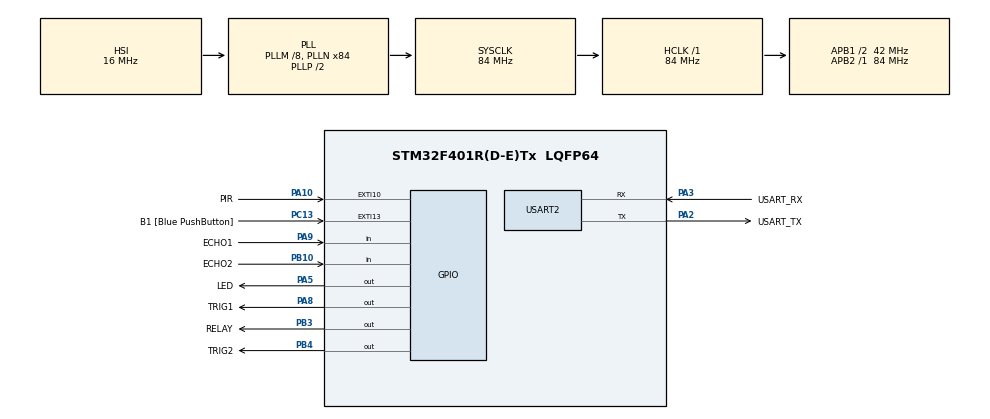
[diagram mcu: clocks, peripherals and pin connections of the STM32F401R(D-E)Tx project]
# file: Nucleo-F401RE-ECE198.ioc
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Mcu.Family=STM32F4
Mcu.Name=STM32F401R(D-E)Tx
Mcu.Package=LQFP64
NVIC.PriorityGroup=NVIC_PRIORITYGROUP_0
PA10.GPIO_Label=PIR
PA10.Signal=GPXTI10
PA13.GPIO_Label=TMS
PA13.Mode=Serial_Wire
PA13.Signal=SYS_JTMS-SWDIO
PA14.GPIO_Label=TCK
PA14.Mode=Serial_Wire
PA14.Signal=SYS_JTCK-SWCLK
PA2.GPIO_Label=USART_TX
PA2.GPIO_Mode=GPIO_MODE_AF_PP
PA2.GPIO_PuPd=GPIO_NOPULL
PA2.GPIO_Speed=GPIO_SPEED_FREQ_LOW
PA2.Mode=Asynchronous
PA2.Signal=USART2_TX
PA3.GPIO_Label=USART_RX
PA3.GPIO_Mode=GPIO_MODE_AF_PP
PA3.GPIO_PuPd=GPIO_NOPULL
PA3.GPIO_Speed=GPIO_SPEED_FREQ_LOW
PA3.Mode=Asynchronous
PA3.Signal=USART2_RX
PA5.GPIO_Label=LED
PA5.Signal=GPIO_Output
PA8.GPIO_Label=TRIG1
PA8.Signal=GPIO_Output
PA9.GPIO_Label=ECHO1
PA9.Signal=GPIO_Input
PB10.GPIO_Label=ECHO2
PB10.Signal=GPIO_Input
PB3.GPIO_Label=RELAY
PB3.Signal=GPIO_Output
PB4.GPIO_Label=TRIG2
PB4.Signal=GPIO_Output
PC13-ANTI_TAMP.GPIO_Label=B1 [Blue PushButton]
PC13-ANTI_TAMP.GPIO_ModeDefaultEXTI=GPIO_MODE_IT_FALLING
PC13-ANTI_TAMP.GPIO_PuPd=GPIO_NOPULL
PC13-ANTI_TAMP.Signal=GPXTI13
PC14-OSC32_IN.Mode=LSE-External-Oscillator
PC14-OSC32_IN.Signal=RCC_OSC32_IN
PC15-OSC32_OUT.Mode=LSE-External-Oscillator
PC15-OSC32_OUT.Signal=RCC_OSC32_OUT
PH0\ -\ OSC_IN.Mode=HSE-External-Oscillator
PH0\ -\ OSC_IN.Signal=RCC_OSC_IN
PH1\ -\ OSC_OUT.Mode=HSE-External-Oscillator
PH1\ -\ OSC_OUT.Signal=RCC_OSC_OUT
ProjectManager.HeapSize=0x200
ProjectManager.StackSize=0x400
ProjectManager.TargetToolchain=STM32CubeIDE
RCC.48MHZClocksFreq_Value=24000000
RCC.AHBFreq_Value=84000000
RCC.APB1CLKDivider=RCC_HCLK_DIV2
RCC.APB1Freq_Value=42000000
RCC.APB1TimFreq_Value=84000000
RCC.APB2Freq_Value=84000000
RCC.APB2TimFreq_Value=84000000
RCC.CortexFreq_Value=84000000
RCC.HCLKFreq_Value=84000000
RCC.HSE_VALUE=8000000
RCC.HSI_VALUE=16000000
RCC.PLLM=8
RCC.PLLN=84
RCC.PLLQ=7
RCC.SYSCLKFreq_VALUE=84000000
RCC.SYSCLKSource=RCC_SYSCLKSOURCE_PLLCLK
RCC.VCOOutputFreq_Value=168000000
TIM1.Prescaler=71
TIM4.Period=0
TIM4.Prescaler=84-1
USART2.VirtualMode=VM_ASYNC
VP_TIM1_VS_ClockSourceINT.Mode=Internal
VP_TIM4_VS_ClockSourceINT.Mode=Internal
board=NUCLEO-F401RE

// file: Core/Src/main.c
/* USER CODE BEGIN Header */
/**
  ******************************************************************************
  * @file           : main.c
  * @brief          : Main program body
  ******************************************************************************
  * @attention
  *
  * Copyright (c) 2022 STMicroelectronics.
  * All rights reserved.
  *
  * This software is licensed under terms that can be found in the LICENSE file
  * in the root directory of this software component.
  * If no LICENSE file comes with this software, it is provided AS-IS.
  *
  ******************************************************************************
  */
/* USER CODE END Header */
#include "main.h"

/* USER CODE BEGIN Includes */

#include <string.h>
#include <stdio.h>
#include <math.h>
#include <stdbool.h>

/* USER CODE END Includes */

/* USER CODE BEGIN PTD */
#define usTIM TIM4
/* USER CODE END PTD */

TIM_HandleTypeDef htim1;
TIM_HandleTypeDef htim4;

UART_HandleTypeDef huart2;

/* USER CODE BEGIN PV */

//#define TRIG_Pin GPIO_PIN_8
//#define TRIG_GPIO_Port GPIOA
//
//#define ECHO_Pin GPIO_PIN_9
//#define ECHO_GPIO_PortT GPIOA

/* USER CODE END PV */

void SystemClock_Config(void);
static void MX_GPIO_Init(void);
static void MX_USART2_UART_Init(void);
static void MX_TIM1_Init(void);
static void MX_TIM4_Init(void);
/* USER CODE BEGIN PFP */

void usDelay(uint32_t uSec);
float MeasureDistance(int sensorID);
float trigMeasurement(float preX, float curX, float preY, float curY);
float AveVel(float velArray[]);

/* USER CODE END PFP */

/* USER CODE BEGIN 0 */

//////pin layout//////
/*
 SensorID = 1
 GPIO_PIN_8 (PA8) Trig for sensor 1:
 GPIO_PIN_9 (PA9) Echo for sensor 1:

 SensorID =2;
 GPIO_PIN_6 (PB4) Trig for sensor 2:
 GPIO_PIN_7 (PB10) Echo for sensor 2:

 sensor 1 is the one at the door
 sensor 2 is the one k meters from the door

 GPIO_PIN_10 (PA10) PIR Sensor:

 PB3: Relay

 */

const float speedOfSound = 0.0340/2; // go and back
int const timemultipler = 4200000;
float const k = 30; // distance between two sensors

// bool isPresent=0; // this will be set to whetever is returned by the sensors

// use one of the following
const uint32_t interval = 0.010; // this will be changed to match the clock
uint32_t numTicks= 0; // 1 tick = 1 us

// local array for mean vel calculation
// how many entries do we want? how often do we calculate the velocity
// if we calculate the instant displacement every 50000 ticks (0.05 seconds),

/* USER CODE END 0 */

int main(void)
{

  /* MCU Configuration--------------------------------------------------------*/

  /* Reset of all peripherals, Initializes the Flash interface and the Systick. */
  HAL_Init();

  /* Configure the system clock */
  SystemClock_Config();

  /* Initialize all configured peripherals */
  MX_GPIO_Init();
  MX_USART2_UART_Init();
  MX_TIM1_Init();
  MX_TIM4_Init();

  /* Infinite loop */
  /* USER CODE BEGIN WHILE */

  float preX=0;
  float curX=0;

  float preY=0;
  float curY=0;

  float const interval= 0.01*timemultipler;

  float deltaX=0;

  float aveVel=0;

  int velStage=0;
  int lightStage=0;
  int timer = 0;

  int index=0;
  float xArray[10]={}; // 12 => every 0.6 seconds
  float velArray[9]={}; // every 0.6 seconds we calculate velocity

  uint16_t peopleCounter=0;

  bool isPresent = false;

  int testingdistance=0;
  int testingdistance1=0;

  // 1 tick = 1 us
  while (1)
  {

	  timer++;
	  // isPresent = HAL_GPIO_ReadPin(GPIOA, GPIO_PIN_10); // when detecting people
	  ////////////Test 1: 1 ultrasonic sensor ///////////
/*
	  testingdistance = MeasureDistance(1);
	  if (testingdistance > 15){ // 15 cms
		  HAL_GPIO_WritePin(GPIOA, GPIO_PIN_5, GPIO_PIN_SET);
		  HAL_GPIO_WritePin(GPIOB, GPIO_PIN_3, GPIO_PIN_SET); // engage the relay
		  HAL_Delay(3000);

	  }else{
		  HAL_GPIO_WritePin(GPIOB, GPIO_PIN_3, GPIO_PIN_RESET);
	  }

*/

	  ////////////Test 2: 2 ultrasosnic sensor ///////////
/*
	  testingdistance = MeasureDistance(2);
	  if (testingdistance > 15){  // 15 cms
		  HAL_GPIO_WritePin(GPIOA, GPIO_PIN_5, GPIO_PIN_SET);
		  HAL_GPIO_WritePin(GPIOB, GPIO_PIN_3, GPIO_PIN_SET);
		  HAL_Delay(3000);

	  }else{
		  HAL_GPIO_WritePin(GPIOB, GPIO_PIN_3, GPIO_PIN_RESET);
	  }
*/

	  ////////////Test 3: PIR sensor ///////////
	  if (HAL_GPIO_ReadPin(GPIOA, GPIO_PIN_10)==GPIO_PIN_RESET){
		  HAL_GPIO_WritePin(GPIOB, GPIO_PIN_3, GPIO_PIN_SET);
	  }else{
		  HAL_GPIO_WritePin(GPIOB, GPIO_PIN_3, GPIO_PIN_RESET);
	  }

	  ////////////Testing4/////////
	  // stage machine to calculate average velocity

	  /*
	  if (isPresent){
		  switch(velStage) {
		    case 0:
		      preX = MeasureDistance(1);
			  preY = MeasureDistance(2);

			  ///////// needs to be fixed
			  if (timer>interval&&timer<2*interval){ // every 0.01 seconds;
				  velStage++;
				  timer=0;
			      break;
			  }else if (timer > 2*interval){ // in case missing some cycle
				  timer = interval;
			  }

		    case 1:
			  curX = MeasureDistance(1);
			  curY = MeasureDistance(2);
			  break;

		    case 2:
		    	deltaX=trigMeasurement(preX, curX, preY, curY); //dX
		    	curX=preX;
		    	curY=preY;
		    	velStage++;
		    	break;

		    case 3: // add instant x to array
				xArray[index] = deltaX; // dX
				index++;
				velStage=0;

				if (index==10){
					velStage=4;
					index=0;
					break;
				}

		    case 4: // add vel to the array
		    	velArray[index]= (xArray[index+1]-xArray[index])/(interval);// calculate dV; derivative
		    	index++;

		    	if (index==9){
		    		velStage++;
		    		index=0;
		    		break;
		    	}

		    case 5:
		    	aveVel = AveVel(velArray);
		    	velStage++;
		    	break;
		  }

		  // is there a better way to determine if the person has enter?
		  // light state machine to turn off the light
		  if (aveVel<0){ // leaving the door
			  switch(lightStage) {
			    case 0:
			    	if (MeasureDistance(3)>30){	 // this should give the third distance
			    		peopleCounter--;
			    		// update LCD
			    		lightStage++;
			    		break;
			    	}
			    	break;

			    case 1:
			    	if(peopleCounter>0){
			    		lightStage=0;
			    		break;
			    	}else{
			    		// turn the light off
			    		peopleCounter=0;
			    		lightStage=0;
			    		break;
			    	}

			  }
		  }else{ // approaching the door
				if (MeasureDistance(3)<30.0){	 // this should give the third distance
					peopleCounter++;
					// Update LCD
					lightStage=0;
					if (peopleCounter>0){
						// turn on the light
						// update LCD

					}
				}
		  }

	  }*/

	  ////////////Testing5/////////
	  testingdistance = MeasureDistance(1);
	  if (testingdistance < 30){ // 15 cms
		  peopleCounter++;
	  }

	  testingdistance1 = MeasureDistance(2);
	  if (testingdistance < 30){  // 15 cms
		  peopleCounter--;
	  }

	  if (peopleCounter==0){
		  HAL_GPIO_WritePin(GPIOB, GPIO_PIN_3, GPIO_PIN_RESET);
	  }else{
		  HAL_GPIO_WritePin(GPIOB, GPIO_PIN_3, GPIO_PIN_SET);
	  }

    /* USER CODE END WHILE */

  }
}

void SystemClock_Config(void)
{
  RCC_OscInitTypeDef RCC_OscInitStruct = {0};
  RCC_ClkInitTypeDef RCC_ClkInitStruct = {0};

  /** Configure the main internal regulator output voltage
  */
  __HAL_RCC_PWR_CLK_ENABLE();
  __HAL_PWR_VOLTAGESCALING_CONFIG(PWR_REGULATOR_VOLTAGE_SCALE2);

  /** Initializes the RCC Oscillators according to the specified parameters
  * in the RCC_OscInitTypeDef structure.
  */
  RCC_OscInitStruct.OscillatorType = RCC_OSCILLATORTYPE_HSI;
  RCC_OscInitStruct.HSIState = RCC_HSI_ON;
  RCC_OscInitStruct.HSICalibrationValue = RCC_HSICALIBRATION_DEFAULT;
  RCC_OscInitStruct.PLL.PLLState = RCC_PLL_ON;
  RCC_OscInitStruct.PLL.PLLSource = RCC_PLLSOURCE_HSI;
  RCC_OscInitStruct.PLL.PLLM = 8;
  RCC_OscInitStruct.PLL.PLLN = 84;
  RCC_OscInitStruct.PLL.PLLP = RCC_PLLP_DIV2;
  RCC_OscInitStruct.PLL.PLLQ = 7;
  if (HAL_RCC_OscConfig(&RCC_OscInitStruct) != HAL_OK)
  {
    Error_Handler();
  }

  /** Initializes the CPU, AHB and APB buses clocks
  */
  RCC_ClkInitStruct.ClockType = RCC_CLOCKTYPE_HCLK|RCC_CLOCKTYPE_SYSCLK
                              |RCC_CLOCKTYPE_PCLK1|RCC_CLOCKTYPE_PCLK2;
  RCC_ClkInitStruct.SYSCLKSource = RCC_SYSCLKSOURCE_PLLCLK;
  RCC_ClkInitStruct.AHBCLKDivider = RCC_SYSCLK_DIV1;
  RCC_ClkInitStruct.APB1CLKDivider = RCC_HCLK_DIV2;
  RCC_ClkInitStruct.APB2CLKDivider = RCC_HCLK_DIV1;

  if (HAL_RCC_ClockConfig(&RCC_ClkInitStruct, FLASH_LATENCY_2) != HAL_OK)
  {
    Error_Handler();
  }
}

static void MX_TIM1_Init(void)
{

  TIM_ClockConfigTypeDef sClockSourceConfig = {0};
  TIM_MasterConfigTypeDef sMasterConfig = {0};

  htim1.Instance = TIM1;
  htim1.Init.Prescaler = 71;
  htim1.Init.CounterMode = TIM_COUNTERMODE_UP;
  htim1.Init.Period = 65535;
  htim1.Init.ClockDivision = TIM_CLOCKDIVISION_DIV1;
  htim1.Init.RepetitionCounter = 0;
  htim1.Init.AutoReloadPreload = TIM_AUTORELOAD_PRELOAD_DISABLE;
  if (HAL_TIM_Base_Init(&htim1) != HAL_OK)
  {
    Error_Handler();
  }
  sClockSourceConfig.ClockSource = TIM_CLOCKSOURCE_INTERNAL;
  if (HAL_TIM_ConfigClockSource(&htim1, &sClockSourceConfig) != HAL_OK)
  {
    Error_Handler();
  }
  sMasterConfig.MasterOutputTrigger = TIM_TRGO_RESET;
  sMasterConfig.MasterSlaveMode = TIM_MASTERSLAVEMODE_DISABLE;
  if (HAL_TIMEx_MasterConfigSynchronization(&htim1, &sMasterConfig) != HAL_OK)
  {
    Error_Handler();
  }

}

static void MX_TIM4_Init(void)
{

  TIM_ClockConfigTypeDef sClockSourceConfig = {0};
  TIM_MasterConfigTypeDef sMasterConfig = {0};

  htim4.Instance = TIM4;
  htim4.Init.Prescaler = 84-1;
  htim4.Init.CounterMode = TIM_COUNTERMODE_UP;
  htim4.Init.Period = 0;
  htim4.Init.ClockDivision = TIM_CLOCKDIVISION_DIV1;
  htim4.Init.AutoReloadPreload = TIM_AUTORELOAD_PRELOAD_DISABLE;
  if (HAL_TIM_Base_Init(&htim4) != HAL_OK)
  {
    Error_Handler();
  }
  sClockSourceConfig.ClockSource = TIM_CLOCKSOURCE_INTERNAL;
  if (HAL_TIM_ConfigClockSource(&htim4, &sClockSourceConfig) != HAL_OK)
  {
    Error_Handler();
  }
  sMasterConfig.MasterOutputTrigger = TIM_TRGO_RESET;
  sMasterConfig.MasterSlaveMode = TIM_MASTERSLAVEMODE_DISABLE;
  if (HAL_TIMEx_MasterConfigSynchronization(&htim4, &sMasterConfig) != HAL_OK)
  {
    Error_Handler();
  }

}

static void MX_USART2_UART_Init(void)
{

  huart2.Instance = USART2;
  huart2.Init.BaudRate = 115200;
  huart2.Init.WordLength = UART_WORDLENGTH_8B;
  huart2.Init.StopBits = UART_STOPBITS_1;
  huart2.Init.Parity = UART_PARITY_NONE;
  huart2.Init.Mode = UART_MODE_TX_RX;
  huart2.Init.HwFlowCtl = UART_HWCONTROL_NONE;
  huart2.Init.OverSampling = UART_OVERSAMPLING_16;
  if (HAL_UART_Init(&huart2) != HAL_OK)
  {
    Error_Handler();
  }

}

static void MX_GPIO_Init(void)
{
  GPIO_InitTypeDef GPIO_InitStruct = {0};

  /* GPIO Ports Clock Enable */
  __HAL_RCC_GPIOC_CLK_ENABLE();
  __HAL_RCC_GPIOH_CLK_ENABLE();
  __HAL_RCC_GPIOA_CLK_ENABLE();
  __HAL_RCC_GPIOB_CLK_ENABLE();

  /*Configure GPIO pin Output Level */
  HAL_GPIO_WritePin(GPIOA, LED_Pin|TRIG1_Pin, GPIO_PIN_RESET);

  /*Configure GPIO pin Output Level */
  HAL_GPIO_WritePin(GPIOB, RELAY_Pin|TRIG2_Pin, GPIO_PIN_RESET);

  /*Configure GPIO pin : B1_Pin */
  GPIO_InitStruct.Pin = B1_Pin;
  GPIO_InitStruct.Mode = GPIO_MODE_IT_FALLING;
  GPIO_InitStruct.Pull = GPIO_NOPULL;
  HAL_GPIO_Init(B1_GPIO_Port, &GPIO_InitStruct);

  /*Configure GPIO pins : LED_Pin TRIG1_Pin */
  GPIO_InitStruct.Pin = LED_Pin|TRIG1_Pin;
  GPIO_InitStruct.Mode = GPIO_MODE_OUTPUT_PP;
  GPIO_InitStruct.Pull = GPIO_NOPULL;
  GPIO_InitStruct.Speed = GPIO_SPEED_FREQ_LOW;
  HAL_GPIO_Init(GPIOA, &GPIO_InitStruct);

  /*Configure GPIO pin : ECHO2_Pin */
  GPIO_InitStruct.Pin = ECHO2_Pin;
  GPIO_InitStruct.Mode = GPIO_MODE_INPUT;
  GPIO_InitStruct.Pull = GPIO_NOPULL;
  HAL_GPIO_Init(ECHO2_GPIO_Port, &GPIO_InitStruct);

  /*Configure GPIO pin : ECHO1_Pin */
  GPIO_InitStruct.Pin = ECHO1_Pin;
  GPIO_InitStruct.Mode = GPIO_MODE_INPUT;
  GPIO_InitStruct.Pull = GPIO_NOPULL;
  HAL_GPIO_Init(ECHO1_GPIO_Port, &GPIO_InitStruct);

  /*Configure GPIO pin : PIR_Pin */
  GPIO_InitStruct.Pin = PIR_Pin;
  GPIO_InitStruct.Mode = GPIO_MODE_IT_RISING;
  GPIO_InitStruct.Pull = GPIO_NOPULL;
  HAL_GPIO_Init(PIR_GPIO_Port, &GPIO_InitStruct);

  /*Configure GPIO pins : RELAY_Pin TRIG2_Pin */
  GPIO_InitStruct.Pin = RELAY_Pin|TRIG2_Pin;
  GPIO_InitStruct.Mode = GPIO_MODE_OUTPUT_PP;
  GPIO_InitStruct.Pull = GPIO_NOPULL;
  GPIO_InitStruct.Speed = GPIO_SPEED_FREQ_LOW;
  HAL_GPIO_Init(GPIOB, &GPIO_InitStruct);

}

/* USER CODE BEGIN 4 */

void usDelay(uint32_t uSec)
{
	if(uSec < 2) uSec = 2;
	usTIM->ARR = uSec - 1; 	/*sets the value in the auto-reload register*/
	usTIM->EGR = 1; 			/*Re-initialises the timer*/
	usTIM->SR &= ~1; 		//Resets the flag
	usTIM->CR1 |= 1; 		//Enables the counter
	while((usTIM->SR&0x0001) != 1);
	usTIM->SR &= ~(0x0001);
}

// SensorID = 1
// GPIO_PIN_8 Trig for sensor 1:
// GPIO_PIN_9 Echo for sensor 1:

// SensorID =2;
// GPIO_PIN_6 Trig for sensor 2
// GPIO_PIN_7 Echo for sensor 2:
float MeasureDistance(int sensorID){
	float localDistance=0;
	if (sensorID == 1){
		HAL_GPIO_WritePin(GPIOA, GPIO_PIN_8, GPIO_PIN_RESET);
		usDelay(3);

		//*** START Ultrasonic measure routine ***//
		//1. Output 10 usec TRIG
		HAL_GPIO_WritePin(GPIOA, GPIO_PIN_8, GPIO_PIN_SET);
		usDelay(10);
		HAL_GPIO_WritePin(GPIOA, GPIO_PIN_8, GPIO_PIN_RESET);

		//2. Wait for ECHO pin rising edge
		while(HAL_GPIO_ReadPin(GPIOA, GPIO_PIN_9) == GPIO_PIN_RESET);

		//3. Start measuring ECHO pulse width in usec
		numTicks = 0;
		while(HAL_GPIO_ReadPin(GPIOA, GPIO_PIN_9) == GPIO_PIN_SET)
		{
			numTicks++;
			usDelay(2); //2.8usec
		};

		localDistance = (numTicks + 0.0f)*2.8*speedOfSound; // Speed of sound is already divided by 2 here.

		return localDistance;
	}

	if (sensorID == 2){
		HAL_GPIO_WritePin(GPIOB, GPIO_PIN_4, GPIO_PIN_RESET);
		usDelay(3);

		//*** START Ultrasonic measure routine ***//
		//1. Output 10 usec TRIG
		HAL_GPIO_WritePin(GPIOB, GPIO_PIN_4, GPIO_PIN_SET);
		usDelay(10);
		HAL_GPIO_WritePin(GPIOB, GPIO_PIN_4, GPIO_PIN_RESET);

		//2. Wait for ECHO pin rising edge
		while(HAL_GPIO_ReadPin(GPIOB, GPIO_PIN_10) == GPIO_PIN_RESET);

		//3. Start measuring ECHO pulse width in usec
		numTicks = 0;
		while(HAL_GPIO_ReadPin(GPIOB, GPIO_PIN_10) == GPIO_PIN_SET)
		{
			numTicks++;
			usDelay(2); //2.8usec
		};

		localDistance = (numTicks + 0.0f)*2.8*speedOfSound; // Speed of sound is already divided by 2 here.

		return localDistance;
	}

	// This is the testing code
	/*
	if(localDistance > 20){
		HAL_GPIO_TogglePin(GPIOA, GPIO_PIN_5);
		HAL_Delay(3000);
	}
	*/
	return localDistance;

}

//// Description
// This function will calculate the speed of the object using cosine law
// It takes 4 parameters from MeasureDistance function: preX, curX, preY, curY
// X is the measurement of sensor 1 from the door
// Y is the measurement of sensor 2 on the wall

// check which part is which and double check the algorithm
// Do we need to calculate both at the same time or split into two function calls?
// int counter=0;

float trigMeasurement(float preX, float curX, float preY, float curY){
	// k is the distance between two sensors pair
	//+++++++++++++++++++++++++++++++++++++++++++++
	float local_deltaX=0;
	float preDistance=0;
	float curDistance=0;
	float preData=0;
	float curData=0;
	float delta1=0;
	float delta2=0;

	preData = -((preX*preX)-(preY*preY)-(k*k))/(preY*k);
	delta1 = acos(preData);
	preDistance = preY*cos(delta1);

	curData = -((curX*curX)-(curY*curY)-(k*k))/(curY*k);
	delta2 = acos(curData);
	curDistance = curY*cos(delta2);

	// calculate delta x
	local_deltaX = curDistance - preDistance;

	return local_deltaX;

}

// this function will calculate the average velocity of an object over an interval
float AveVel(float velArray[]){ // size 9

	float sum=0;
	float aveVel=0;
	for (int i=0; i<9;i++){
		sum += velArray[i];
	}

	aveVel = sum/(interval*10); // mean value
	return aveVel;

	//+++++++++++++++++++++++++++++++++++++++++++++
	// Problem is that first time some entries are still at their default values
	// float velArray[i]=(xArray[i+1]-xArray[i])/interval; // this is the idea of derivative where lim(f(x+h)-f(x))/h as h which is our interval approaches 0
}

/* USER CODE END 4 */

void Error_Handler(void)
{
  __disable_irq();
  while (1)
  {
  }
}
